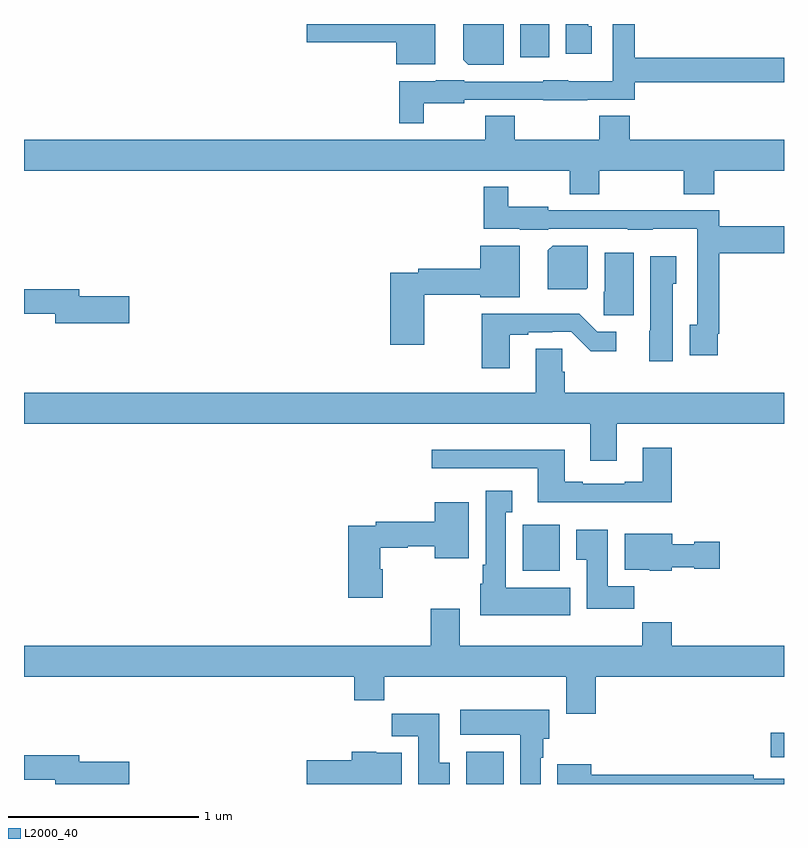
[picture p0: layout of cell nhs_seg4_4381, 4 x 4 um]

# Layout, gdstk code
import gdstk
lib = gdstk.Library(unit=1e-6, precision=1e-09)
def R(c, l, rs):  # rectangles x0, y0, x1, y1
    for r in rs: c.add(gdstk.rectangle(r[:2], r[2:], *l))
def P(c, l, *ps):  # polygons
    for p in ps: c.add(gdstk.Polygon(p, *l))
L2000_40 = (2000, 40)

nhs_seg4_4381 = lib.new_cell('nhs_seg4_4381')
R(nhs_seg4_4381, L2000_40, [(347.327,818.9,347.524,819.07), (348.93,819.041,349,819.171), (347.624,820.022,347.821,820.264), (347.612,822.726,347.764,822.9)])
P(nhs_seg4_4381, L2000_40, [(347.164,822.9),(346.488,822.9),(346.488,822.803),(346.958,822.803),(346.958,822.689),(347.164,822.689)],
  [(347.989,822.888),(347.971,822.888),(347.971,822.9),(347.852,822.9),(347.852,822.744),(347.989,822.744)],
  [(347.524,822.9),(347.312,822.9),(347.312,822.712),(347.338,822.686),(347.524,822.686)],
  [(347.104,822.482),(347.316,822.482),(347.316,822.501),(347.733,822.501),(347.733,822.5),(347.965,822.5),(347.965,822.501),(348.215,822.501),(348.215,822.594),(349,822.594),(349,822.722),(348.215,822.722),(348.215,822.9),(348.099,822.9),(348.099,822.598),(347.865,822.598),(347.865,822.604),(347.733,822.604),(347.733,822.597),(347.316,822.597),(347.316,822.604),(347.166,822.604),(347.166,822.598),(346.975,822.598),(346.975,822.377),(347.104,822.377)],
  [(348.027,822.128),(348.472,822.128),(348.472,822.004),(348.632,822.004),(348.632,822.128),(349,822.128),(349,822.292),(348.188,822.292),(348.188,822.416),(348.028,822.416),(348.028,822.292),(347.583,822.292),(347.583,822.416),(347.428,822.416),(347.428,822.292),(345,822.292),(345,822.128),(347.872,822.128),(347.872,822.004),(348.027,822.004)],
  [(348.652,821.269),(348.659,821.269),(348.659,821.693),(349,821.693),(349,821.835),(348.659,821.835),(348.659,821.919),(348.409,821.919),(348.409,821.921),(348.177,821.921),(348.177,821.919),(347.76,821.919),(347.76,821.938),(347.548,821.938),(347.548,822.043),(347.419,822.043),(347.419,821.822),(347.61,821.822),(347.61,821.816),(347.76,821.816),(347.76,821.823),(348.177,821.823),(348.177,821.816),(348.309,821.816),(348.309,821.822),(348.543,821.822),(348.543,821.318),(348.503,821.318),(348.503,821.157),(348.652,821.157)],
  [(347.106,821.476),(347.402,821.476),(347.402,821.462),(347.608,821.462),(347.608,821.734),(347.402,821.734),(347.402,821.612),(347.074,821.612),(347.074,821.592),(346.928,821.592),(346.928,821.211),(347.106,821.211)],
  [(347.968,821.512),(347.968,821.734),(347.782,821.734),(347.756,821.708),(347.756,821.504),(347.96,821.504)],
  [(348.208,821.695),(348.056,821.695),(348.056,821.49),(348.052,821.49),(348.052,821.367),(348.208,821.367)],
  [(348.415,821.532),(348.433,821.532),(348.433,821.677),(348.296,821.677),(348.296,821.286),(348.29,821.286),(348.29,821.124),(348.415,821.124)],
  [(345.553,821.468),(345.292,821.468),(345.292,821.504),(345,821.504),(345,821.376),(345.164,821.376),(345.164,821.326),(345.553,821.326)],
  [(347.557,821.265),(347.653,821.265),(347.653,821.277),(347.78,821.277),(347.78,821.28),(347.88,821.28),(347.983,821.178),(348.118,821.178),(348.118,821.28),(348.018,821.28),(347.923,821.375),(347.41,821.375),(347.41,821.088),(347.557,821.088)],
  [(348.121,820.796),(349,820.796),(349,820.96),(347.846,820.96),(347.846,821.07),(347.832,821.07),(347.832,821.192),(347.693,821.192),(347.693,820.96),(345,820.96),(345,820.796),(347.981,820.796),(347.981,820.602),(348.121,820.602)],
  [(348.41,820.669),(348.257,820.669),(348.257,820.492),(348.161,820.492),(348.161,820.479),(347.941,820.479),(347.941,820.492),(347.845,820.492),(347.845,820.66),(347.145,820.66),(347.145,820.563),(347.705,820.563),(347.705,820.382),(348.41,820.382)],
  [(347.875,819.934),(347.536,819.934),(347.536,820.331),(347.569,820.331),(347.569,820.444),(347.429,820.444),(347.429,820.054),(347.414,820.054),(347.414,819.954),(347.402,819.954),(347.402,819.788),(347.875,819.788)],
  [(346.889,820.029),(346.876,820.029),(346.876,820.144),(347.019,820.144),(347.019,820.152),(347.162,820.152),(347.162,820.088),(347.341,820.088),(347.341,820.384),(347.162,820.384),(347.162,820.28),(346.852,820.28),(346.852,820.26),(346.706,820.26),(346.706,819.879),(346.889,819.879)],
  [(348.212,819.94),(348.073,819.94),(348.073,820.237),(347.906,820.237),(347.906,820.081),(347.963,820.081),(347.963,819.822),(348.212,819.822)],
  [(348.408,820.04),(348.528,820.04),(348.528,820.033),(348.661,820.033),(348.661,820.175),(348.528,820.175),(348.528,820.162),(348.412,820.162),(348.412,820.216),(348.161,820.216),(348.161,820.028),(348.294,820.028),(348.294,820.022),(348.408,820.022)],
  [(348.008,819.464),(349,819.464),(349,819.628),(348.41,819.628),(348.41,819.752),(348.253,819.752),(348.253,819.628),(347.293,819.628),(347.293,819.823),(347.141,819.823),(347.141,819.628),(345,819.628),(345,819.464),(346.739,819.464),(346.739,819.34),(346.895,819.34),(346.895,819.464),(347.855,819.464),(347.855,819.27),(348.008,819.27)],
  [(347.719,819.038),(347.734,819.038),(347.734,819.138),(347.764,819.138),(347.764,819.292),(347.295,819.292),(347.295,819.158),(347.612,819.158),(347.612,818.9),(347.719,818.9)],
  [(347.242,819.012),(347.185,819.012),(347.185,819.271),(346.936,819.271),(346.936,819.152),(347.075,819.152),(347.075,818.9),(347.242,818.9)],
  [(346.987,819.064),(346.854,819.064),(346.854,819.07),(346.724,819.07),(346.724,819.024),(346.488,819.024),(346.488,818.9),(346.987,818.9)],
  [(345.553,819.018),(345.292,819.018),(345.292,819.052),(345,819.052),(345,818.923),(345.164,818.923),(345.164,818.9),(345.553,818.9)],
  [(349,818.928),(348.842,818.928),(348.842,818.948),(347.986,818.948),(347.986,819.004),(347.807,819.004),(347.807,818.9),(349,818.9)])

lib.write_gds('nhs_seg4_4381.gds')
